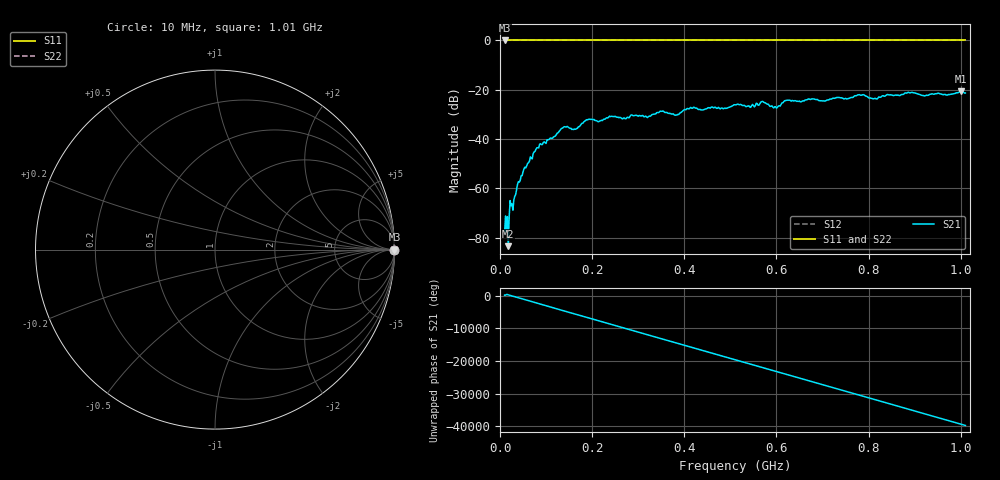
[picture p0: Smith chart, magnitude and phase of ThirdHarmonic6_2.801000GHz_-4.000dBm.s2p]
! 8/17/2025 7:17:52 AM
! C:\ANRITSUVNA\TEMP\TEMP.S2P
! CHANNEL.1
! TR.MEASUREMENT
! RAW.DATA
! RF.CORRECTION.OFF
! AVERAGING.OFF
! IF.BANDWIDTH: 5KHZ
! SWEEPTYPE:  FREQ.SWEEP(Linear)
! Reference Plane Port Info
! PORT:  PORT1  PORT2
! DISTANCE:  0  m  0  m
! TIME:  0  s  0  s
! PHASE.OFFSET:  0  deg.  0  deg.
! LOSS:  0  dB  0  dB
! REF.LOSS:  0  dB  0  dB
! REF.FREQ:  0  Hz  0  Hz
! Power Info
! POWER:  -20  dBm  -20  dBm
! EFF.POWER:  -20  dBm  -20  dBm
! SOURCE.ATTEN:  0  dB  0  dB
! TEST.ATTEN:  0  dB  0  dB
# GHZ S RI R 50.0
! FREQ.GHZ  S11RE  S11IM  S21RE  S21IM  S12RE  S12IM  S22RE  S22IM
!; PortSelection: Port_12
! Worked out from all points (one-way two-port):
!   501 points, 10 MHz to 1.01 GHz, reference 50 ohm
!   highest |S21| = -20.68 dB at 1 GHz (marker M1); lowest = -83.5 dB at 18 MHz (marker M2)
!   lowest |S11| = 0.0 dB at 10 MHz (marker M3)
!   |S11| at or under -10 dB: nowhere
!   |S22| runs from 0.0 to 0.0 dB; largest |S21 - S12| = 1.1
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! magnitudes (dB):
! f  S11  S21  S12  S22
! 10 MHz  0.0  -78.3  0.0  0.0
! 18 MHz  0.0  -83.5  0.0  0.0
! 24 MHz  0.0  -67.1  0.0  0.0
! 42 MHz  0.0  -57.5  0.0  0.0
! 76 MHz  0.0  -45.0  0.0  0.0
! 136 MHz  0.0  -35.5  0.0  0.0
! 164 MHz  0.0  -36.1  0.0  0.0
! 178 MHz  0.0  -33.6  0.0  0.0
! 192 MHz  0.0  -32.0  0.0  0.0
! 322 MHz  0.0  -30.9  0.0  0.0
! 344 MHz  0.0  -29.3  0.0  0.0
! 384 MHz  0.0  -30.2  0.0  0.0
! 416 MHz  0.0  -27.5  0.0  0.0
! 510 MHz  0.0  -26.1  0.0  0.0
! 570 MHz  0.0  -24.7  0.0  0.0
! 598 MHz  0.0  -26.9  0.0  0.0
! 622 MHz  0.0  -24.3  0.0  0.0
! 678 MHz  0.0  -23.7  0.0  0.0
! 814 MHz  0.0  -23.5  0.0  0.0
! 844 MHz  0.0  -22.1  0.0  0.0
! 1 GHz  0.0  -20.7  0.0  0.0
! 1.01 GHz  0.0  -21.3  0.0  0.0
